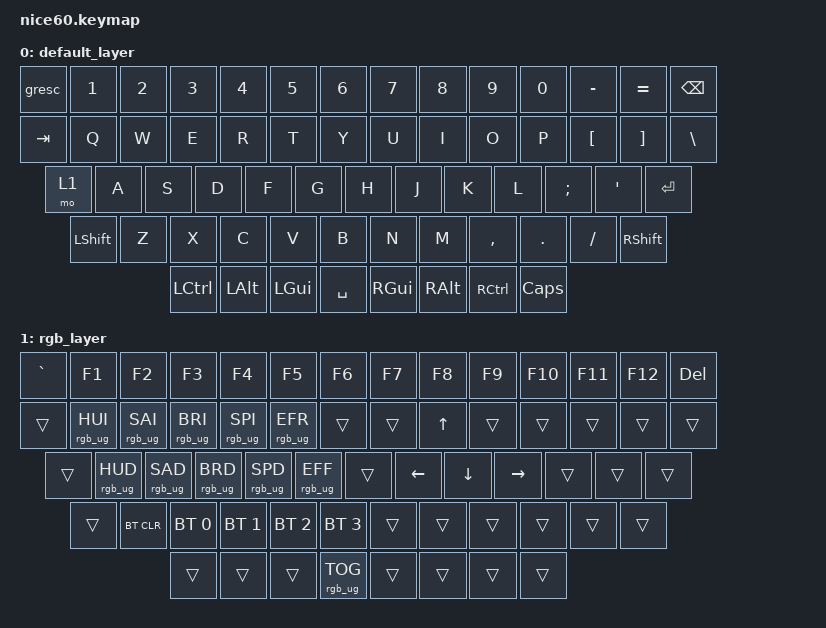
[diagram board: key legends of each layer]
/*
 * Copyright (c) 2021 Nick Winans
 *
 * SPDX-License-Identifier: MIT
 */

#include <behaviors.dtsi>
#include <dt-bindings/zmk/keys.h>
#include <dt-bindings/zmk/rgb.h>
#include <dt-bindings/zmk/bt.h>
#include <dt-bindings/zmk/outputs.h>
#include <dt-bindings/zmk/reset.h>
#include <dt-bindings/zmk/ext_power.h>

/ {
	keymap {
		compatible = "zmk,keymap";
		
		default_layer {
// ------------------------------------------------------------------------------------------
// | ESC |  1  |  2  |  3  |  4  |  5  |  6  |  7  |  8  |  9  |  0  |  -  |  =  |   BKSP   |
// | TAB  |  Q  |  W  |  E  |  R  |  T  |  Y  |  U  |  I  |  O  |  P  |  [  |  ]  |   "|"   |
// | CAPS  |  A  |  S  |  D  |  F  |  G  |  H  |  J  |  K  |  L  |  ;  |  '  |     ENTER    |
// |  SHIFT  |  Z  |  X  |  C  |  V  |  B  |  N  |  M  |  ,  |  .  |  /  |      SHIFT       |
// |  CTL  |  WIN  |  ALT  |            SPACE              |  ALT  |  WIN  |  MO(1) |  CTL  |
// ------------------------------------------------------------------------------------------
			bindings = <
	&gresc  &kp N1 &kp N2 &kp N3 &kp N4 &kp N5 &kp N6 &kp N7 &kp N8 &kp N9 &kp N0 &kp MINUS &kp EQUAL  &kp BSPC
	&kp TAB  &kp Q  &kp W  &kp E  &kp R  &kp T  &kp Y  &kp U  &kp I  &kp O  &kp P  &kp LBKT  &kp RBKT  &kp BSLH
	&mo 1  &kp A  &kp S  &kp D  &kp F  &kp G  &kp H  &kp J  &kp K  &kp L  &kp SEMI &kp SQT           &kp RET
	&kp LSHFT   &kp Z  &kp X  &kp C  &kp V  &kp B  &kp N  &kp M  &kp COMMA &kp DOT &kp FSLH           &kp RSHFT
	&kp LCTRL &kp LALT &kp LGUI             &kp SPACE                     &kp RGUI  &kp RALT  &kp RCTL   &kp CLCK
			>;
		};

		rgb_layer {
// ------------------------------------------------------------------------------------------------
// |  GRAVE  | F1  | F2  | F3  | F4  | F5  | F6  | F7  | F8  | F9  | F10  | F11 | F12 |    DEL    |
// |  | HUEUP  | SATUP  | BRIUP  | SPDUP | EFFECT REV |  |  | UP  | | |    |     |           |
// |  | HUEDN | SATDN   | BRIDN | SPDDN | EFECT FORW |  | LT |  DN |  RT   |   |     |   |
// |  |  BT CLR | BT 1  | BT 2 | BT 3 |   BT 4  |     |     |     |     |     |                  |
// |   BT 4  |      |      |             TOG RGB                | PRT SCR |       |       |    |
// ------------------------------------------------------------------------------------------------
			bindings = <
	&kp GRAVE   &kp F1    &kp F2    &kp F3  &kp F4           &kp F5          &kp F6          &kp F7          &kp F8   &kp F9   &kp F10  &kp F11 &kp F12 &kp DEL
	&trans  &rgb_ug RGB_HUI &rgb_ug RGB_SAI &rgb_ug RGB_BRI &rgb_ug RGB_SPI &rgb_ug RGB_EFR &trans &trans &kp UP &trans &trans &trans &trans &trans
	&trans  &rgb_ug RGB_HUD &rgb_ug RGB_SAD &rgb_ug RGB_BRD &rgb_ug RGB_SPD &rgb_ug RGB_EFF &trans   &kp LEFT &kp DOWN &kp RIGHT &trans &trans &trans
	&trans &bt BT_CLR &bt BT_SEL 0 &bt BT_SEL 1 &bt BT_SEL 2 &bt BT_SEL 3 &trans &trans &trans   &trans   &trans                          &trans
	&trans  &trans   &trans                            &rgb_ug RGB_TOG                                      &trans      &trans      &trans               &trans
			>;
		};
	};
};
